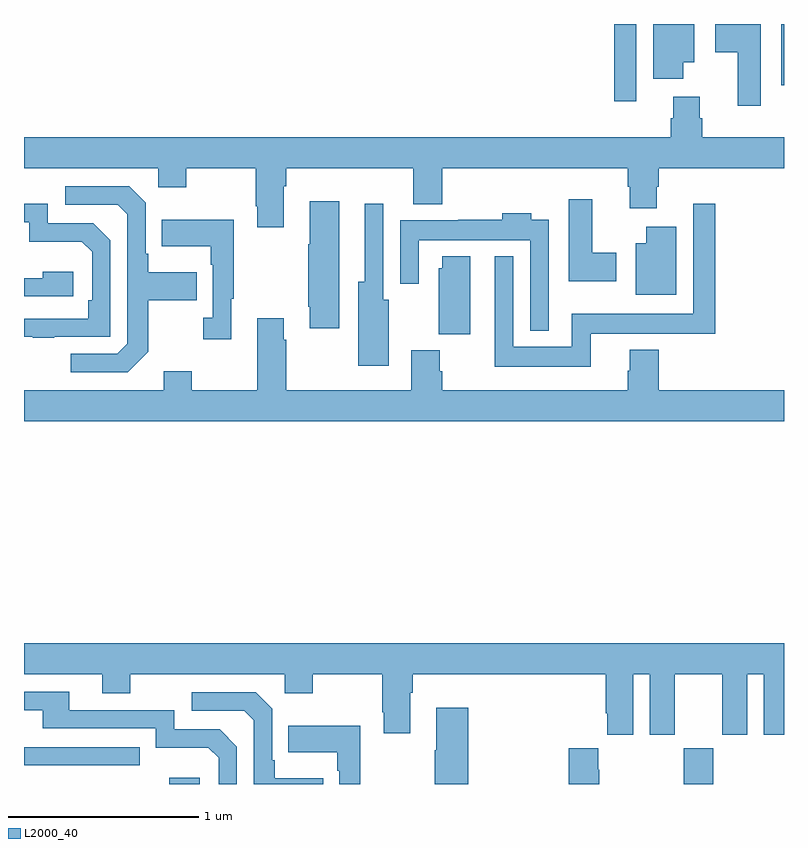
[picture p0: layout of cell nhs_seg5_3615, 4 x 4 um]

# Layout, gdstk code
import gdstk
lib = gdstk.Library(unit=1e-6, precision=1e-09)
def R(c, l, rs):  # rectangles x0, y0, x1, y1
    for r in rs: c.add(gdstk.rectangle(r[:2], r[2:], *l))
def P(c, l, *ps):  # polygons
    for p in ps: c.add(gdstk.Polygon(p, *l))
L2000_40 = (2000, 40)

nhs_seg5_3615 = lib.new_cell('nhs_seg5_3615')
R(nhs_seg5_3615, L2000_40, [(323.765,906.799,323.926,906.832), (326.473,906.799,326.628,906.988), (323,906.897,323.609,906.993), (326.107,910.392,326.223,910.799), (326.985,910.476,327,910.799)])
P(nhs_seg5_3615, L2000_40, [(326.47,910.598),(326.527,910.598),(326.527,910.799),(326.312,910.799),(326.312,910.512),(326.47,910.512)],
  [(326.878,910.799),(326.756,910.799),(326.756,910.798),(326.639,910.798),(326.639,910.651),(326.756,910.651),(326.756,910.368),(326.878,910.368)],
  [(323,910.04),(323.706,910.04),(323.706,909.941),(323.853,909.941),(323.853,910.04),(324.22,910.04),(324.22,909.841),(324.227,909.841),(324.227,909.729),(324.367,909.729),(324.367,909.944),(324.38,909.944),(324.38,910.04),(325.049,910.04),(325.049,909.851),(325.202,909.851),(325.202,910.04),(326.177,910.04),(326.177,909.942),(326.189,909.942),(326.189,909.828),(326.329,909.828),(326.329,909.942),(326.342,909.942),(326.342,910.04),(327,910.04),(327,910.204),(326.57,910.204),(326.57,910.302),(326.557,910.302),(326.557,910.417),(326.417,910.417),(326.417,910.302),(326.405,910.302),(326.405,910.204),(323,910.204)],
  [(323.653,909.073),(323.653,909.346),(323.909,909.346),(323.909,909.493),(323.653,909.493),(323.653,909.589),(323.64,909.589),(323.64,909.858),(323.553,909.945),(323.217,909.945),(323.217,909.849),(323.493,909.849),(323.544,909.798),(323.544,909.117),(323.49,909.063),(323.247,909.063),(323.247,908.967),(323.547,908.967)],
  [(326.116,909.594),(325.99,909.594),(325.99,909.877),(325.868,909.877),(325.868,909.446),(326.116,909.446)],
  [(324.658,909.865),(324.503,909.865),(324.503,909.641),(324.496,909.641),(324.496,909.31),(324.503,909.31),(324.503,909.198),(324.658,909.198)],
  [(325.982,909.17),(326.516,909.17),(326.516,909.168),(326.639,909.168),(326.639,909.853),(326.523,909.853),(326.523,909.274),(325.884,909.274),(325.884,909.1),(325.575,909.1),(325.575,909.577),(325.478,909.577),(325.478,908.996),(325.982,908.996)],
  [(324.919,909.348),(324.891,909.348),(324.891,909.853),(324.794,909.853),(324.794,909.442),(324.758,909.442),(324.758,909),(324.919,909)],
  [(323.159,909.153),(323.454,909.153),(323.454,909.66),(323.364,909.75),(323.124,909.75),(323.124,909.852),(323,909.852),(323,909.756),(323.028,909.756),(323.028,909.653),(323.305,909.653),(323.358,909.6),(323.358,909.346),(323.338,909.346),(323.338,909.249),(323,909.249),(323,909.153),(323.047,909.153),(323.047,909.148),(323.159,909.148)],
  [(325.761,909.769),(325.669,909.769),(325.669,909.802),(325.517,909.802),(325.517,909.769),(325.285,909.769),(325.285,909.766),(324.981,909.766),(324.981,909.432),(325.077,909.432),(325.077,909.662),(325.665,909.662),(325.665,909.185),(325.761,909.185)],
  [(324.091,909.353),(324.103,909.353),(324.103,909.769),(323.725,909.769),(323.725,909.629),(323.982,909.629),(323.982,909.533),(323.994,909.533),(323.994,909.254),(323.943,909.254),(323.943,909.141),(324.091,909.141)],
  [(326.434,909.733),(326.276,909.733),(326.276,909.646),(326.219,909.646),(326.219,909.374),(326.434,909.374)],
  [(325.348,909.577),(325.202,909.577),(325.202,909.513),(325.184,909.513),(325.184,909.166),(325.348,909.166)],
  [(323.26,909.496),(323.099,909.496),(323.099,909.462),(323,909.462),(323,909.366),(323.26,909.366)],
  [(327,908.872),(326.342,908.872),(326.342,909.085),(326.189,909.085),(326.189,908.973),(326.177,908.973),(326.177,908.872),(325.202,908.872),(325.202,908.972),(325.189,908.972),(325.189,909.081),(325.037,909.081),(325.037,908.872),(324.38,908.872),(324.38,909.137),(324.367,909.137),(324.367,909.25),(324.227,909.25),(324.227,908.872),(323.883,908.872),(323.883,908.971),(323.735,908.971),(323.735,908.872),(323,908.872),(323,908.708),(327,908.708)],
  [(323,907.376),(323.411,907.376),(323.411,907.277),(323.559,907.277),(323.559,907.376),(324.372,907.376),(324.372,907.277),(324.519,907.277),(324.519,907.376),(324.886,907.376),(324.886,907.177),(324.893,907.177),(324.893,907.065),(325.033,907.065),(325.033,907.28),(325.046,907.28),(325.046,907.376),(326.063,907.376),(326.063,907.171),(326.069,907.171),(326.069,907.059),(326.206,907.059),(326.206,907.376),(326.294,907.376),(326.294,907.059),(326.425,907.059),(326.425,907.376),(326.675,907.376),(326.675,907.059),(326.806,907.059),(326.806,907.376),(326.894,907.376),(326.894,907.059),(327,907.059),(327,907.54),(323,907.54)],
  [(324.12,906.996),(324.03,907.086),(323.79,907.086),(323.79,907.188),(323.239,907.188),(323.239,907.284),(323,907.284),(323,907.188),(323.099,907.188),(323.099,907.092),(323.694,907.092),(323.694,906.989),(323.971,906.989),(324.024,906.936),(324.024,906.799),(324.12,906.799)],
  [(324.575,906.829),(324.319,906.829),(324.319,906.925),(324.306,906.925),(324.306,907.194),(324.219,907.281),(323.883,907.281),(323.883,907.185),(324.159,907.185),(324.21,907.134),(324.21,906.799),(324.575,906.799)],
  [(325.337,907.201),(325.169,907.201),(325.169,906.977),(325.162,906.977),(325.162,906.799),(325.337,906.799)],
  [(324.769,907.105),(324.391,907.105),(324.391,906.965),(324.648,906.965),(324.648,906.869),(324.66,906.869),(324.66,906.799),(324.769,906.799)],
  [(326.028,906.875),(326.023,906.875),(326.023,906.988),(325.868,906.988),(325.868,906.799),(326.028,906.799)])

lib.write_gds('nhs_seg5_3615.gds')
